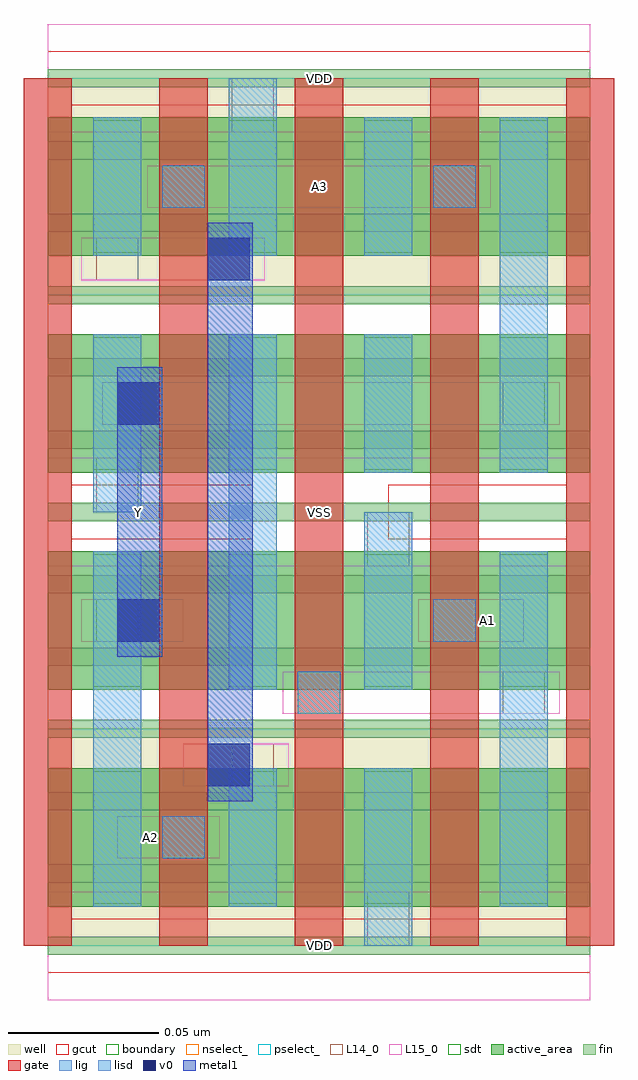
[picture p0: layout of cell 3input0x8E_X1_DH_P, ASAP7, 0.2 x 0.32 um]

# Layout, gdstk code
import gdstk
lib = gdstk.Library(unit=1e-6, precision=1e-09)
def R(c, l, rs):  # rectangles x0, y0, x1, y1
    for r in rs: c.add(gdstk.rectangle(r[:2], r[2:], *l))
def A(c, l, x, y, w, h, nx, ny, dx, dy):  # array of equal rectangles
    R(c, l, [(x+i*dx, y+j*dy, x+i*dx+w, y+j*dy+h) for i in range(nx) for j in range(ny)])
def P(c, l, *ps):  # polygons
    for p in ps: c.add(gdstk.Polygon(p, *l))
well = (1, 0)
fin = (2, 0)
gate = (7, 0)
gcut = (10, 0)
active_area = (11, 0)
nselect_ = (12, 0)
pselect_ = (13, 0)
L14_0 = (14, 0)
L15_0 = (15, 0)
lig = (16, 0)
lisd = (17, 0)
v0 = (18, 0)
metal1 = (19, 0)
sdt = (88, 0)
boundary = (100, 0)

c_3input0x8e_x1_dh_p = lib.new_cell('3input0x8E_X1_DH_P')
R(c_3input0x8e_x1_dh_p, well, [(0,0,0.18,0.072), (0,0.216,0.18,0.288)])
A(c_3input0x8e_x1_dh_p, fin, 0, -0.003, 0.18, 0.006, 1, 13, 0, 0.024)
A(c_3input0x8e_x1_dh_p, gate, -0.008, 0, 0.016, 0.288, 5, 1, 0.045, 0)
P(c_3input0x8e_x1_dh_p, gcut, [(0,-0.009),(0,0),(-0.008,0),(-0.008,0.279),(0.008,0.279),(0.008,0.153),(0.068,0.153),(0.068,0.135),(0.008,0.135),(0.008,0.009),(0.172,0.009),(0.172,0.135),(0.113,0.135),(0.113,0.153),(0.172,0.153),(0.172,0.279),(-0.008,0.279),(-0.008,0.288),(0,0.288),(0,0.297),(0.18,0.297),(0.18,0.288),(0.188,0.288),(0.188,0),(0.18,0),(0.18,-0.009)])
A(c_3input0x8e_x1_dh_p, active_area, 0, 0.013, 0.18, 0.046, 1, 4, 0, 0.072)
R(c_3input0x8e_x1_dh_p, nselect_, [(0,0.072,0.18,0.144), (0,0.144,0.18,0.216)])
R(c_3input0x8e_x1_dh_p, pselect_, [(0,0,0.18,0.072), (0,0.216,0.18,0.288)])
R(c_3input0x8e_x1_dh_p, L14_0, [(0.106,0,0.12,0.018), (0.038,0.029,0.052,0.043), (0.061,0.053,0.075,0.067), (0.083,0.077,0.097,0.091), (0.151,0.077,0.165,0.091), (0.016,0.101,0.03,0.115), (0.128,0.101,0.142,0.115), (0.106,0.126,0.12,0.144), (0.016,0.144,0.03,0.162), (0.151,0.173,0.165,0.187), (0.016,0.221,0.03,0.235), (0.038,0.245,0.052,0.259), (0.128,0.245,0.142,0.259), (0.061,0.27,0.075,0.288)])
A(c_3input0x8e_x1_dh_p, L15_0, 0, -0.018, 0.18, 0.036, 1, 3, 0, 0.144)
R(c_3input0x8e_x1_dh_p, L15_0, [(0.023,0.029,0.057,0.043), (0.045,0.053,0.08,0.067), (0.078,0.077,0.17,0.091), (0.011,0.101,0.045,0.115), (0.123,0.101,0.158,0.115), (0.018,0.173,0.17,0.187), (0.011,0.221,0.072,0.235), (0.033,0.245,0.147,0.259)])
R(c_3input0x8e_x1_dh_p, lig, [(0.038,0.029,0.052,0.043), (0.083,0.077,0.097,0.091), (0.128,0.101,0.142,0.115), (0.038,0.245,0.052,0.259), (0.128,0.245,0.142,0.259)])
R(c_3input0x8e_x1_dh_p, lisd, [(0.105,0,0.121,0.059), (0.015,0.013,0.031,0.131), (0.06,0.013,0.076,0.059), (0.15,0.013,0.166,0.131), (0.06,0.085,0.076,0.203), (0.105,0.085,0.121,0.144), (0.015,0.144,0.031,0.203), (0.105,0.157,0.121,0.203), (0.15,0.157,0.166,0.275), (0.015,0.229,0.031,0.275), (0.06,0.229,0.076,0.288), (0.105,0.229,0.121,0.275)])
R(c_3input0x8e_x1_dh_p, v0, [(0.053,0.053,0.067,0.067), (0.023,0.101,0.037,0.115), (0.023,0.173,0.037,0.187), (0.053,0.221,0.067,0.235)])
R(c_3input0x8e_x1_dh_p, metal1, [(0.053,0.048,0.068,0.24), (0.023,0.096,0.038,0.192)])
A(c_3input0x8e_x1_dh_p, sdt, 0.015, 0.014, 0.016, 0.044, 4, 4, 0.045, 0.072)
R(c_3input0x8e_x1_dh_p, boundary, [(0,0,0.18,0.288)])
c_3input0x8e_x1_dh_p.add(gdstk.Label('VDD', (0.09,0), layer=15, texttype=251))
c_3input0x8e_x1_dh_p.add(gdstk.Label('VSS', (0.09,0.144), layer=15, texttype=251))
c_3input0x8e_x1_dh_p.add(gdstk.Label('VSS', (0.09,0.144), layer=15, texttype=251))
c_3input0x8e_x1_dh_p.add(gdstk.Label('VDD', (0.09,0.288), layer=15, texttype=251))
c_3input0x8e_x1_dh_p.add(gdstk.Label('A2', (0.034,0.036), layer=15, texttype=251))
c_3input0x8e_x1_dh_p.add(gdstk.Label('VDD', (0.09,0), layer=15, texttype=251))
c_3input0x8e_x1_dh_p.add(gdstk.Label('VSS', (0.09,0.144), layer=15, texttype=251))
c_3input0x8e_x1_dh_p.add(gdstk.Label('VSS', (0.09,0.144), layer=15, texttype=251))
c_3input0x8e_x1_dh_p.add(gdstk.Label('VDD', (0.09,0.288), layer=15, texttype=251))
c_3input0x8e_x1_dh_p.add(gdstk.Label('A3', (0.09,0.252), layer=15, texttype=251))
c_3input0x8e_x1_dh_p.add(gdstk.Label('VDD', (0.09,0), layer=15, texttype=251))
c_3input0x8e_x1_dh_p.add(gdstk.Label('VSS', (0.09,0.144), layer=15, texttype=251))
c_3input0x8e_x1_dh_p.add(gdstk.Label('VSS', (0.09,0.144), layer=15, texttype=251))
c_3input0x8e_x1_dh_p.add(gdstk.Label('VDD', (0.09,0.288), layer=15, texttype=251))
c_3input0x8e_x1_dh_p.add(gdstk.Label('A1', (0.146,0.108), layer=15, texttype=251))
c_3input0x8e_x1_dh_p.add(gdstk.Label('VDD', (0.09,0), layer=15, texttype=251))
c_3input0x8e_x1_dh_p.add(gdstk.Label('VSS', (0.09,0.144), layer=15, texttype=251))
c_3input0x8e_x1_dh_p.add(gdstk.Label('VSS', (0.09,0.144), layer=15, texttype=251))
c_3input0x8e_x1_dh_p.add(gdstk.Label('VDD', (0.09,0.288), layer=15, texttype=251))
c_3input0x8e_x1_dh_p.add(gdstk.Label('VSS', (0.09,0.144), layer=3, texttype=251))
c_3input0x8e_x1_dh_p.add(gdstk.Label('VSS', (0.09,0.144), layer=3, texttype=251))
c_3input0x8e_x1_dh_p.add(gdstk.Label('VSS', (0.09,0.144), layer=3, texttype=251))
c_3input0x8e_x1_dh_p.add(gdstk.Label('VSS', (0.09,0.144), layer=3, texttype=251))
c_3input0x8e_x1_dh_p.add(gdstk.Label('VSS', (0.09,0.144), layer=3, texttype=251))
c_3input0x8e_x1_dh_p.add(gdstk.Label('VSS', (0.09,0.144), layer=3, texttype=251))
c_3input0x8e_x1_dh_p.add(gdstk.Label('VSS', (0.09,0.144), layer=3, texttype=251))
c_3input0x8e_x1_dh_p.add(gdstk.Label('VSS', (0.09,0.144), layer=3, texttype=251))
c_3input0x8e_x1_dh_p.add(gdstk.Label('VDD', (0.09,0), layer=1, texttype=251))
c_3input0x8e_x1_dh_p.add(gdstk.Label('VDD', (0.09,0.288), layer=1, texttype=251))
c_3input0x8e_x1_dh_p.add(gdstk.Label('VDD', (0.09,0), layer=1, texttype=251))
c_3input0x8e_x1_dh_p.add(gdstk.Label('VDD', (0.09,0.288), layer=1, texttype=251))
c_3input0x8e_x1_dh_p.add(gdstk.Label('VDD', (0.09,0), layer=1, texttype=251))
c_3input0x8e_x1_dh_p.add(gdstk.Label('VDD', (0.09,0.288), layer=1, texttype=251))
c_3input0x8e_x1_dh_p.add(gdstk.Label('VDD', (0.09,0), layer=1, texttype=251))
c_3input0x8e_x1_dh_p.add(gdstk.Label('VDD', (0.09,0.288), layer=1, texttype=251))
c_3input0x8e_x1_dh_p.add(gdstk.Label('Y', (0.03,0.144), layer=19, texttype=251))

lib.write_gds('3input0x8E_X1_DH_P.gds')
